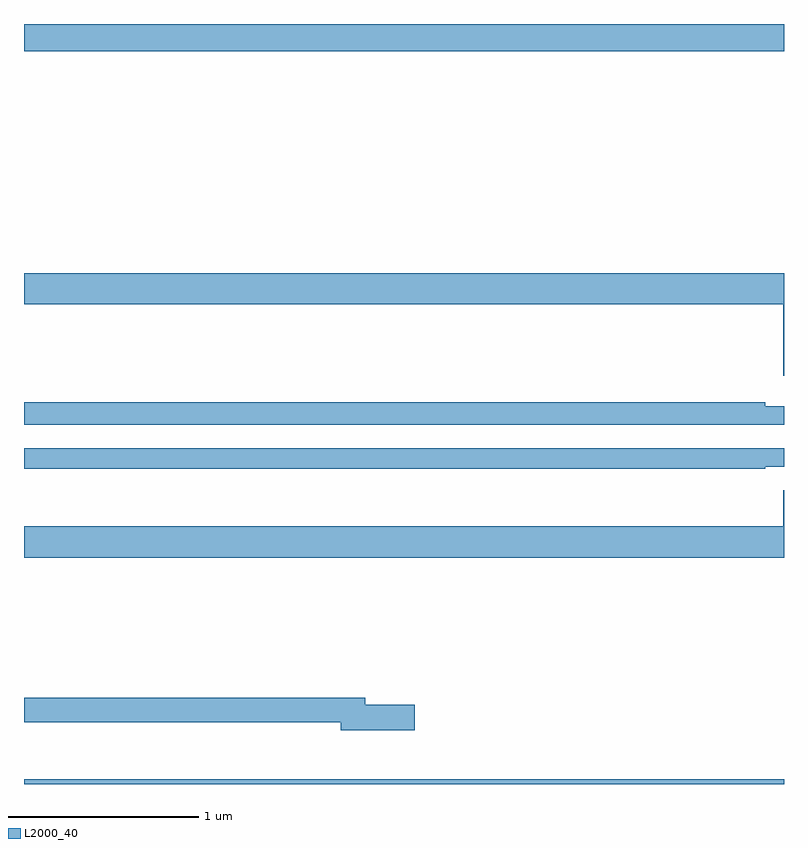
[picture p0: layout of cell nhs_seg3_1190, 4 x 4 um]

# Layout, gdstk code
import gdstk
lib = gdstk.Library(unit=1e-6, precision=1e-09)
def R(c, l, rs):  # rectangles x0, y0, x1, y1
    for r in rs: c.add(gdstk.rectangle(r[:2], r[2:], *l))
def P(c, l, *ps):  # polygons
    for p in ps: c.add(gdstk.Polygon(p, *l))
L2000_40 = (2000, 40)

nhs_seg3_1190 = lib.new_cell('nhs_seg3_1190')
R(nhs_seg3_1190, L2000_40, [(173,690.4,177,690.424), (173,694.256,177,694.4)])
P(nhs_seg3_1190, L2000_40, [(177,693.088),(173,693.088),(173,692.924),(176.996,692.924),(176.996,692.55),(177,692.55)],
  [(177,692.389),(176.9,692.389),(176.9,692.408),(173,692.408),(173,692.292),(177,692.292)],
  [(176.9,692.07),(177,692.07),(177,692.166),(173,692.166),(173,692.058),(176.9,692.058)],
  [(177,691.945),(176.996,691.945),(176.996,691.756),(173,691.756),(173,691.592),(177,691.592)],
  [(175.057,690.818),(174.796,690.818),(174.796,690.854),(173,690.854),(173,690.726),(174.668,690.726),(174.668,690.683),(175.057,690.683)])

lib.write_gds('nhs_seg3_1190.gds')
